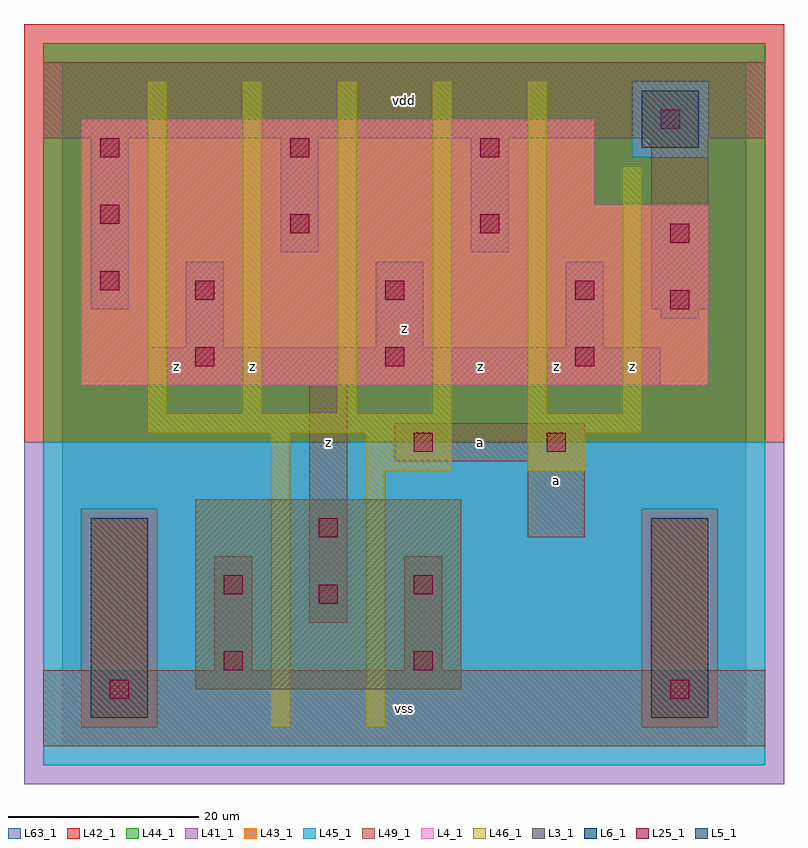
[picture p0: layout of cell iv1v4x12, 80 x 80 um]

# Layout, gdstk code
import gdstk
lib = gdstk.Library(unit=1e-6, precision=1e-09)
def R(c, l, rs):  # rectangles x0, y0, x1, y1
    for r in rs: c.add(gdstk.rectangle(r[:2], r[2:], *l))
def A(c, l, x, y, w, h, nx, ny, dx, dy):  # array of equal rectangles
    R(c, l, [(x+i*dx, y+j*dy, x+i*dx+w, y+j*dy+h) for i in range(nx) for j in range(ny)])
L3_1 = (3, 1)
L4_1 = (4, 1)
L5_1 = (5, 1)
L6_1 = (6, 1)
L25_1 = (25, 1)
L41_1 = (41, 1)
L42_1 = (42, 1)
L43_1 = (43, 1)
L44_1 = (44, 1)
L45_1 = (45, 1)
L46_1 = (46, 1)
L49_1 = (49, 1)
L63_1 = (63, 1)

iv1v4x12 = lib.new_cell('iv1v4x12')
R(iv1v4x12, L3_1, [(14,6,42,26)])
R(iv1v4x12, L4_1, [(2,38,68,57), (2,57,56,66)])
R(iv1v4x12, L5_1, [(61,63,67,69)])
R(iv1v4x12, L6_1, [(3,3,9,24), (3,3,9,24), (62,3,68,24), (62,3,68,24)])
A(iv1v4x12, L25_1, 14, 40, 2, 2, 3, 2, 20, 7)
A(iv1v4x12, L25_1, 4, 62, 2, 2, 3, 1, 20, 0)
R(iv1v4x12, L25_1, [(5,5,7,7), (64,5,66,7), (17,8,19,10), (37,8,39,10), (27,15,29,17), (17,16,19,18), (37,16,39,18), (27,22,29,24), (37,31,39,33), (51,31,53,33), (64,46,66,48), (4,48,6,50), (64,53,66,55), (24,54,26,56), (44,54,46,56), (4,55,6,57), (63,65,65,67)])
R(iv1v4x12, L41_1, [(-4,-4,76,32)])
R(iv1v4x12, L42_1, [(-4,32,76,76)])
R(iv1v4x12, L43_1, [(3,3,9,24), (62,3,68,24), (14,6,42,26), (2,38,68,57), (2,57,56,66), (61,63,67,69)])
R(iv1v4x12, L44_1, [(2,2,10,25), (61,2,69,25), (-2,32,74,62), (-2,62,60,70), (68,62,74,70), (-2,70,74,74)])
R(iv1v4x12, L45_1, [(-2,-2,74,2), (-2,2,2,25), (10,2,61,25), (69,2,74,25), (-2,25,74,32), (60,62,68,70)])
A(iv1v4x12, L46_1, 9, 35, 2, 35, 5, 1, 10, 0)
R(iv1v4x12, L46_1, [(22,2,24,33), (32,2,34,29), (32,29,41,33), (49,29,55,33), (9,33,41,35), (49,33,61,35), (59,35,61,61)])
R(iv1v4x12, L49_1, [(-2,0,74,8), (16,8,20,20), (36,8,40,20), (26,13,30,38), (49,22,55,30), (35,30,55,34), (9,38,63,42), (13,42,17,51), (33,42,38,51), (53,42,57,51), (63,45,67,46), (3,46,7,64), (62,46,68,64), (23,52,27,64), (43,52,47,64), (-2,64,74,72)])
R(iv1v4x12, L63_1, [(0,0,72,72)])
iv1v4x12.add(gdstk.Label('z', (12,40), layer=49, texttype=1))
iv1v4x12.add(gdstk.Label('z', (28,32), layer=49, texttype=1))
iv1v4x12.add(gdstk.Label('z', (20,40), layer=49, texttype=1))
iv1v4x12.add(gdstk.Label('vss', (36,4), layer=49, texttype=1))
iv1v4x12.add(gdstk.Label('a', (44,32), layer=49, texttype=1))
iv1v4x12.add(gdstk.Label('a', (52,28), layer=49, texttype=1))
iv1v4x12.add(gdstk.Label('z', (44,40), layer=49, texttype=1))
iv1v4x12.add(gdstk.Label('z', (52,40), layer=49, texttype=1))
iv1v4x12.add(gdstk.Label('z', (36,44), layer=49, texttype=1))
iv1v4x12.add(gdstk.Label('vdd', (36,68), layer=49, texttype=1))
iv1v4x12.add(gdstk.Label('z', (60,40), layer=49, texttype=1))

lib.write_gds('iv1v4x12.gds')
